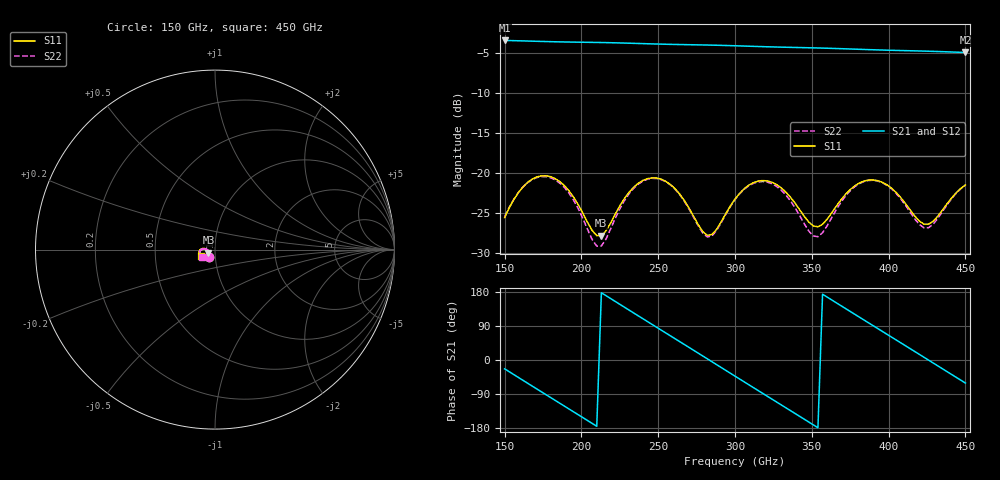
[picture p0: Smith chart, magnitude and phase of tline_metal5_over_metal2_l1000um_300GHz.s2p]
#  GHZ S DB R 50
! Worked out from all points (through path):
!   101 points, 150 GHz to 450 GHz, reference 50 ohm
!   highest |S21| = -3.47 dB at 150 GHz (marker M1); lowest = -5.0 dB at 450 GHz (marker M2)
!   group delay of S21, straight-line fit = 7.01 ps
!   lowest |S11| = -27.9 dB at 213 GHz (marker M3), VSWR 1.08, Z = 46.5 - j1.62 ohm
!   |S11| at or under -10 dB: start of sweep to end of sweep
!   |S22| runs from -29.2 to -20.5 dB; largest |S21 - S12| = 7.5e-14
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150  -25.60 -126.1  -3.47 -23.3  -3.47 -23.3  -25.47 -128.5
162  -21.75 -133.5  -3.53 -53.7  -3.53 -53.7  -21.77 -135.4
174  -20.38 -151.8  -3.59 -84.1  -3.59 -84.1  -20.47 -153.8
186  -21.11 -170.5  -3.65 -114.3  -3.65 -114.3  -21.30 -173.1
201  -25.07 178.5  -3.69 -152.1  -3.69 -152.1  -25.73 174.8
213  -27.87 -154.5  -3.73 177.5  -3.73 177.5  -29.15 -152.0
234  -21.80 -143.3  -3.83 124.2  -3.83 124.2  -21.95 -139.9
252  -20.80 -168.8  -3.93 78.8  -3.93 78.8  -20.85 -166.8
276  -26.46 178.7  -4.02 18.2  -4.02 18.2  -26.62 179.7
285  -27.71 -157.2  -4.06 -4.6  -4.06 -4.6  -27.89 -155.5
300  -23.29 -142.5  -4.13 -42.6  -4.13 -42.6  -23.35 -141.2
312  -21.23 -154.8  -4.21 -72.9  -4.21 -72.9  -21.32 -154.3
324  -21.18 -170.7  -4.28 -103.1  -4.28 -103.1  -21.37 -170.9
339  -23.77 176.9  -4.34 -140.9  -4.34 -140.9  -24.34 175.6
351  -26.64 -170.2  -4.40 -171.2  -4.40 -171.2  -27.90 -168.0
363  -25.00 -147.8  -4.46 158.5  -4.46 158.5  -25.59 -140.4
378  -21.63 -153.1  -4.56 120.6  -4.56 120.6  -21.73 -147.5
390  -20.89 -167.4  -4.63 90.4  -4.63 90.4  -20.94 -162.9
402  -21.94 179.3  -4.70 60.2  -4.70 60.2  -22.03 -177.2
414  -24.63 176.0  -4.76 30.0  -4.76 30.0  -24.91 179.2
426  -26.42 -164.1  -4.82 -0.2  -4.82 -0.2  -26.86 -158.8
450  -21.53 -156.2  -4.97 -60.8  -4.97 -60.8  -21.54 -150.8
